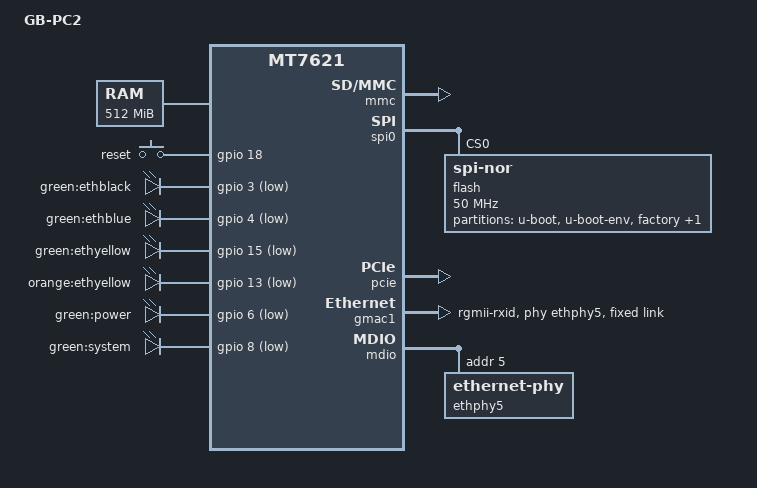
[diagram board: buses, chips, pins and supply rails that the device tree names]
// SPDX-License-Identifier: (GPL-2.0-only OR BSD-2-Clause)
/dts-v1/;

#include "mt7621.dtsi"

#include <dt-bindings/gpio/gpio.h>
#include <dt-bindings/input/input.h>

/ {
	compatible = "gnubee,gb-pc2", "mediatek,mt7621-soc";
	model = "GB-PC2";

	memory@0 {
		device_type = "memory";
		reg = <0x00000000 0x1c000000>,
		      <0x20000000 0x04000000>;
	};

	chosen {
		bootargs = "console=ttyS0,57600";
	};

	gpio-keys {
		compatible = "gpio-keys";

		key-reset {
			label = "reset";
			gpios = <&gpio 18 GPIO_ACTIVE_HIGH>;
			linux,code = <KEY_RESTART>;
		};
	};

	gpio-leds {
		compatible = "gpio-leds";

		led-ethblack-green {
			label = "green:ethblack";
			gpios = <&gpio 3 GPIO_ACTIVE_LOW>;
		};

		led-ethblue-green {
			label = "green:ethblue";
			gpios = <&gpio 4 GPIO_ACTIVE_LOW>;
		};

		led-ethyellow-green {
			label = "green:ethyellow";
			gpios = <&gpio 15 GPIO_ACTIVE_LOW>;
		};

		led-ethyellow-orange {
			label = "orange:ethyellow";
			gpios = <&gpio 13 GPIO_ACTIVE_LOW>;
		};

		led-power {
			label = "green:power";
			gpios = <&gpio 6 GPIO_ACTIVE_LOW>;
			linux,default-trigger = "default-on";
		};

		led-system {
			label = "green:system";
			gpios = <&gpio 8 GPIO_ACTIVE_LOW>;
			linux,default-trigger = "disk-activity";
		};
	};
};

&mmc {
	status = "okay";
};

&spi0 {
	status = "okay";

	flash@0 {
		#address-cells = <1>;
		#size-cells = <1>;
		compatible = "jedec,spi-nor";
		reg = <0>;
		spi-max-frequency = <50000000>;
		broken-flash-reset;

		partition@0 {
			label = "u-boot";
			reg = <0x0 0x30000>;
			read-only;
		};

		partition@30000 {
			label = "u-boot-env";
			reg = <0x30000 0x10000>;
			read-only;
		};

		factory: partition@40000 {
			label = "factory";
			reg = <0x40000 0x10000>;
			read-only;
		};

		partition@50000 {
			label = "firmware";
			reg = <0x50000 0x1fb0000>;
		};
	};
};

&pcie {
	status = "okay";
};

&gmac1 {
	phy-mode = "rgmii-rxid";
	phy-handle = <&ethphy5>;

	fixed-link {
		status = "disabled";
	};
};

&mdio {
	ethphy5: ethernet-phy@5 {
		reg = <5>;
	};
};

&switch0 {
	ports {
		port@0 {
			status = "okay";
			label = "ethblack";
		};

		port@4 {
			status = "okay";
			label = "ethblue";
		};

		port@5 {
			status = "disabled";
		};
	};
};
